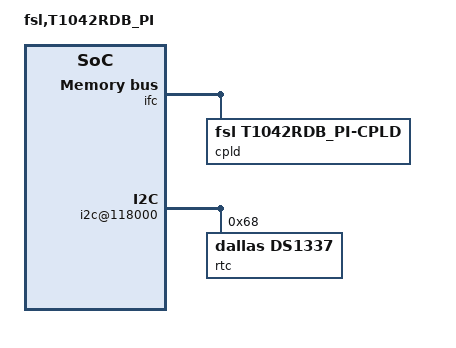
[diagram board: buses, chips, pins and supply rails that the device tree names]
/*
 * T1042RDB_PI Device Tree Source
 *
 * Copyright 2014 Freescale Semiconductor Inc.
 *
 * Redistribution and use in source and binary forms, with or without
 * modification, are permitted provided that the following conditions are met:
 *     * Redistributions of source code must retain the above copyright
 *	 notice, this list of conditions and the following disclaimer.
 *     * Redistributions in binary form must reproduce the above copyright
 *	 notice, this list of conditions and the following disclaimer in the
 *	 documentation and/or other materials provided with the distribution.
 *     * Neither the name of Freescale Semiconductor nor the
 *	 names of its contributors may be used to endorse or promote products
 *	 derived from this software without specific prior written permission.
 *
 *
 * ALTERNATIVELY, this software may be distributed under the terms of the
 * GNU General Public License ("GPL") as published by the Free Software
 * Foundation, either version 2 of that License or (at your option) any
 * later version.
 *
 * THIS SOFTWARE IS PROVIDED BY Freescale Semiconductor "AS IS" AND ANY
 * EXPRESS OR IMPLIED WARRANTIES, INCLUDING, BUT NOT LIMITED TO, THE IMPLIED
 * WARRANTIES OF MERCHANTABILITY AND FITNESS FOR A PARTICULAR PURPOSE ARE
 * DISCLAIMED. IN NO EVENT SHALL Freescale Semiconductor BE LIABLE FOR ANY
 * DIRECT, INDIRECT, INCIDENTAL, SPECIAL, EXEMPLARY, OR CONSEQUENTIAL DAMAGES
 * (INCLUDING, BUT NOT LIMITED TO, PROCUREMENT OF SUBSTITUTE GOODS OR SERVICES;
 * LOSS OF USE, DATA, OR PROFITS; OR BUSINESS INTERRUPTION) HOWEVER CAUSED AND
 * ON ANY THEORY OF LIABILITY, WHETHER IN CONTRACT, STRICT LIABILITY, OR TORT
 * (INCLUDING NEGLIGENCE OR OTHERWISE) ARISING IN ANY WAY OUT OF THE USE OF THIS
 * SOFTWARE, EVEN IF ADVISED OF THE POSSIBILITY OF SUCH DAMAGE.
 */

/include/ "t104xsi-pre.dtsi"
/include/ "t104xrdb.dtsi"

/ {
	model = "fsl,T1042RDB_PI";
	compatible = "fsl,T1042RDB_PI";
	ifc: localbus@ffe124000 {
		cpld@3,0 {
			compatible = "fsl,t1042rdb_pi-cpld";
		};
	};
	soc: soc@ffe000000 {
		i2c@118000 {
			rtc@68 {
				compatible = "dallas,ds1337";
				reg = <0x68>;
				interrupts = <0x2 0x1 0 0>;
			};
		};
	};
};

/include/ "t1042si-post.dtsi"
